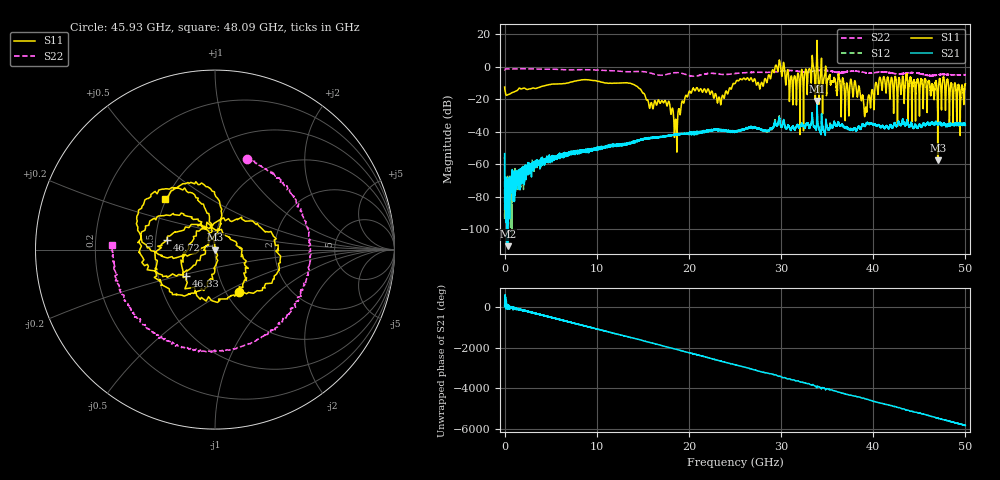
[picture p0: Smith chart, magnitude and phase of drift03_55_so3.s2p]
!Created with skrf (http://scikit-rf.org).
# Hz S RI R 50.0
!freq ReS11 ImS11 ReS21 ImS21 ReS12 ImS12 ReS22 ImS22
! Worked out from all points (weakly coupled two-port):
!   10001 points, 300 kHz to 50 GHz, reference 50 ohm
!   highest |S21| = -21.23 dB at 33.9 GHz (marker M1); lowest = -110.5 dB at 335.3 MHz (marker M2)
!   lowest |S11| = -57.7 dB at 47 GHz (marker M3), VSWR 1.00, Z = 50.1 - j0.0568 ohm
!   |S11| at or under -10 dB: start of sweep to 6.944 GHz; 13.31 GHz to 25.05 GHz (11.73 GHz wide, 61.2 % of centre); 38.08 GHz to 40.26 GHz (2.184 GHz wide, 5.58 % of centre) (the widest 3 of 55)
!   |S22| runs from -5.9 to -1.3 dB; largest |S21 - S12| = 0.0072
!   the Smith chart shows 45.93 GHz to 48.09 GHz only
!   S11 on the Smith chart (normalised r, x): 45.93 GHz: 1.14, -0.58; 46.33 GHz: 0.69, -0.22; 46.72 GHz: 0.58, +0.07; 48.09 GHz: 0.49, +0.33
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300000  -0.2122 -0.102  0.00165 0.00131  0.0015 0.000743  -0.7693 -0.196
3.35298e8  -0.1014 0.0894  -1.27e-06 2.7e-06  9.84e-05 0.00037  -0.6596 0.5317
1.535291e9  0.2047 0.0434  -1.57e-05 -0.000226  8.57e-05 -0.000512  0.8485 0.0773
3.160281e9  -0.2185 -0.00837  -0.000126 0.000764  -3.61e-05 0.000953  -0.8442 -0.025
4.665272e9  0.2634 0.0615  6.04e-05 -0.00153  0.000124 -0.00145  0.8189 0.1427
6.360262e9  -0.2999 0.000563  0.000669 0.0017  0.000565 0.00189  -0.8044 -0.0433
8.33525e9  0.2836 -0.2671  -0.00237 -0.00106  -0.00231 -0.000935  0.6023 -0.5358
9.585242e9  -0.3716 -0.0406  0.00156 0.00232  0.00127 0.00257  -0.7869 -0.0807
1.123523e10  0.3057 0.0298  -0.00239 -0.00243  -0.00211 -0.00271  0.7568 0.0351
1.66702e10  0.0541 0.0755  0.00466 -0.00489  0.00469 -0.00482  -0.3604 0.4179
2.500015e10  -0.2965 -0.0489  0.00794 0.00645  0.00787 0.00651  -0.1844 -0.5812
3.051012e10  0.2492 -0.1056  -0.00221 0.0123  -0.00243 0.0128  0.7418 -0.0583
3.213011e10  0.2029 0.3701  -0.000477 -0.0145  -0.000421 -0.0151  -0.6986 0.00998
3.33351e10  0.4917 -0.9943  -0.0062 0.025  -0.00568 0.0242  0.613 0.3665
3.38951e10  -0.6588 -6.339  0.0861 0.0108  0.084 0.00865  0.6787 -0.3214
4.167005e10  -0.2212 0.2819  -0.0113 -0.00428  -0.0117 -0.00501  -0.6565 -0.0588
4.592502e10  0.131 -0.235  0.0105 0.0153  0.0108 0.015  0.18 0.5025
4.632502e10  -0.1615 -0.149  0.0195 0.000418  0.0193 0.000258  0.5081 0.1546
4.672002e10  -0.2665 0.0528  0.0108 -0.0147  0.0116 -0.0139  0.4424 -0.3035
4.699502e10  0.00118 -0.000567  0.00118 -0.0172  0.00107 -0.0171  0.2159 -0.5102
4.809001e10  -0.2783 0.2819  -0.0129 0.0102  -0.0131 0.00992  -0.5724 0.0236
5e10  -0.1432 -0.2576  0.000948 -0.0156  0.000255 -0.0167  0.4682 -0.3139
